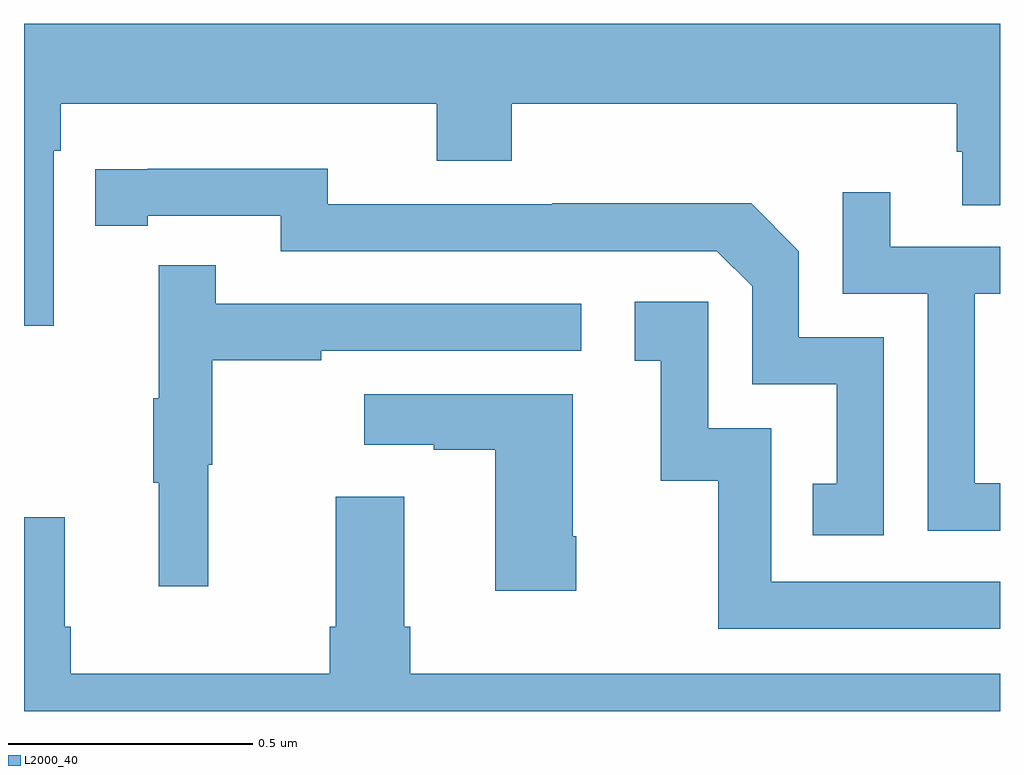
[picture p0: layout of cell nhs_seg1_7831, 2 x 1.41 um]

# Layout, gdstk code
import gdstk
lib = gdstk.Library(unit=1e-6, precision=1e-09)
def P(c, l, *ps):  # polygons
    for p in ps: c.add(gdstk.Polygon(p, *l))
L2000_40 = (2000, 40)

nhs_seg1_7831 = lib.new_cell('nhs_seg1_7831')
P(nhs_seg1_7831, L2000_40, [(209.061,506.348),(209.075,506.348),(209.075,506.444),(209.846,506.444),(209.846,506.327),(209.999,506.327),(209.999,506.444),(210.911,506.444),(210.911,506.346),(210.923,506.346),(210.923,506.236),(211,506.236),(211,506.608),(209,506.608),(209,505.989),(209.061,505.989)],
  [(210.762,505.965),(210.588,505.965),(210.588,506.142),(210.49,506.24),(210.082,506.24),(210.082,506.238),(209.622,506.238),(209.622,506.311),(209.254,506.311),(209.254,506.31),(209.146,506.31),(209.146,506.194),(209.254,506.194),(209.254,506.214),(209.526,506.214),(209.526,506.142),(210.42,506.142),(210.492,506.07),(210.492,505.869),(210.665,505.869),(210.665,505.665),(210.616,505.665),(210.616,505.56),(210.762,505.56)],
  [(211,505.666),(210.948,505.666),(210.948,506.055),(211,506.055),(211,506.151),(210.775,506.151),(210.775,506.263),(210.678,506.263),(210.678,506.055),(210.852,506.055),(210.852,505.569),(211,505.569)],
  [(209.378,505.704),(209.386,505.704),(209.386,505.918),(209.609,505.918),(209.609,505.938),(210.142,505.938),(210.142,506.034),(209.393,506.034),(209.393,506.113),(209.276,506.113),(209.276,505.841),(209.265,505.841),(209.265,505.667),(209.276,505.667),(209.276,505.455),(209.378,505.455)],
  [(211,505.464),(210.531,505.464),(210.531,505.779),(210.402,505.779),(210.402,506.038),(210.252,506.038),(210.252,505.917),(210.305,505.917),(210.305,505.671),(210.423,505.671),(210.423,505.368),(211,505.368)],
  [(210.132,505.558),(210.124,505.558),(210.124,505.849),(209.697,505.849),(209.697,505.745),(209.84,505.745),(209.84,505.735),(209.966,505.735),(209.966,505.446),(210.132,505.446)],
  [(211,505.276),(209.792,505.276),(209.792,505.372),(209.779,505.372),(209.779,505.639),(209.639,505.639),(209.639,505.372),(209.627,505.372),(209.627,505.276),(209.096,505.276),(209.096,505.372),(209.083,505.372),(209.083,505.597),(209,505.597),(209,505.199),(211,505.199)])

lib.write_gds('nhs_seg1_7831.gds')
